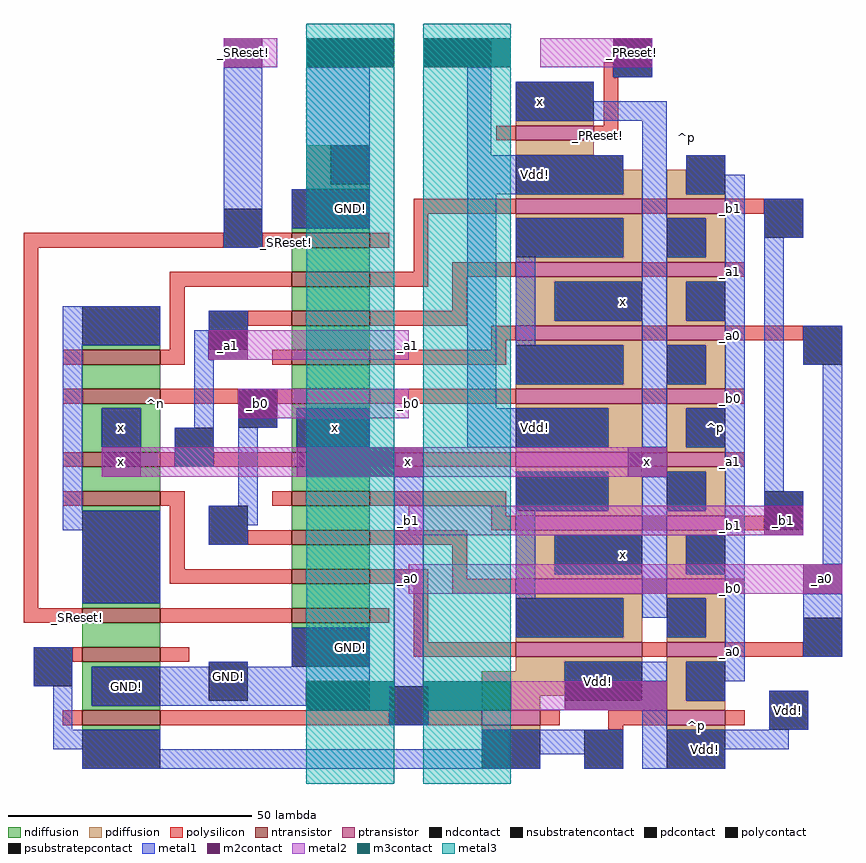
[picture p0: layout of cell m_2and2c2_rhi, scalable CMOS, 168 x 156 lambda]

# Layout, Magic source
magic
tech scmos
<< ndiffusion >>
rect -21 151 -16 159
rect -21 150 -8 151
rect -24 141 -8 142
rect -24 133 -8 138
rect -67 117 -51 118
rect -24 125 -8 130
rect -24 117 -8 122
rect -67 109 -51 114
rect -24 109 -8 114
rect -67 105 -51 106
rect -67 97 -63 105
rect -55 97 -51 105
rect -24 105 -8 106
rect -67 96 -51 97
rect -24 97 -23 105
rect -24 96 -8 97
rect -67 88 -51 93
rect -24 88 -8 93
rect -67 84 -51 85
rect -24 80 -8 85
rect -24 72 -8 77
rect -67 64 -51 65
rect -24 64 -8 69
rect -67 56 -51 61
rect -24 60 -8 61
rect -67 52 -51 53
rect -67 44 -65 52
rect -67 43 -51 44
rect -67 39 -51 40
<< pdiffusion >>
rect 22 163 38 164
rect 22 157 38 160
rect 44 149 48 154
rect 22 148 48 149
rect 53 149 57 154
rect 53 148 65 149
rect 22 144 48 145
rect 44 136 48 144
rect 22 135 48 136
rect 53 144 65 145
rect 61 136 65 144
rect 53 135 65 136
rect 22 131 48 132
rect 22 123 30 131
rect 22 122 48 123
rect 53 131 65 132
rect 53 123 57 131
rect 53 122 65 123
rect 22 118 48 119
rect 44 110 48 118
rect 22 109 48 110
rect 53 118 65 119
rect 61 110 65 118
rect 53 109 65 110
rect 22 105 48 106
rect 41 97 48 105
rect 22 96 48 97
rect 53 105 65 106
rect 53 97 57 105
rect 53 96 65 97
rect 22 92 48 93
rect 41 84 48 92
rect 22 83 48 84
rect 53 92 65 93
rect 61 84 65 92
rect 53 83 65 84
rect 22 79 48 80
rect 22 71 30 79
rect 22 70 48 71
rect 53 79 65 80
rect 53 71 57 79
rect 53 70 65 71
rect 22 66 48 67
rect 44 58 48 66
rect 22 57 48 58
rect 53 66 65 67
rect 61 58 65 66
rect 53 57 65 58
rect 22 53 48 54
rect 22 51 32 53
rect 15 46 32 51
rect 15 43 27 46
rect 53 53 65 54
rect 53 45 57 53
rect 53 43 65 45
rect 15 39 27 40
rect 53 39 65 40
<< ntransistor >>
rect -24 138 -8 141
rect -24 130 -8 133
rect -24 122 -8 125
rect -67 114 -51 117
rect -24 114 -8 117
rect -67 106 -51 109
rect -24 106 -8 109
rect -67 93 -51 96
rect -24 93 -8 96
rect -67 85 -51 88
rect -24 85 -8 88
rect -24 77 -8 80
rect -24 69 -8 72
rect -67 61 -51 64
rect -24 61 -8 64
rect -67 53 -51 56
rect -67 40 -51 43
<< ptransistor >>
rect 22 160 38 163
rect 22 145 48 148
rect 53 145 65 148
rect 22 132 48 135
rect 53 132 65 135
rect 22 119 48 122
rect 53 119 65 122
rect 22 106 48 109
rect 53 106 65 109
rect 22 93 48 96
rect 53 93 65 96
rect 22 80 48 83
rect 53 80 65 83
rect 22 67 48 70
rect 53 67 65 70
rect 22 54 48 57
rect 53 54 65 57
rect 15 40 27 43
rect 53 40 65 43
<< polysilicon >>
rect 40 173 42 176
rect 40 163 43 173
rect 18 160 22 163
rect 38 160 43 163
rect -79 138 -38 141
rect 1 145 22 148
rect 48 145 53 148
rect 65 145 73 148
rect -30 138 -24 141
rect -8 138 -4 141
rect -79 64 -76 138
rect 1 133 4 145
rect -49 130 -24 133
rect -8 130 4 133
rect 9 132 22 135
rect 48 132 53 135
rect 65 132 69 135
rect -49 117 -46 130
rect 9 125 12 132
rect -33 122 -24 125
rect -8 122 12 125
rect 17 119 22 122
rect 48 119 53 122
rect 65 119 81 122
rect 17 117 20 119
rect -71 114 -67 117
rect -51 114 -46 117
rect -28 114 -24 117
rect -8 114 20 117
rect -71 106 -67 109
rect -51 106 -35 109
rect -27 106 -24 109
rect -8 106 22 109
rect 48 106 53 109
rect 65 106 69 109
rect -71 93 -67 96
rect -51 93 -48 96
rect -40 93 -24 96
rect -8 93 22 96
rect 48 93 53 96
rect 65 93 69 96
rect -71 85 -67 88
rect -51 85 -46 88
rect -28 85 -24 88
rect -8 85 20 88
rect -49 72 -46 85
rect 17 83 20 85
rect 17 80 22 83
rect 48 80 53 83
rect 65 80 73 83
rect -33 77 -24 80
rect -8 77 12 80
rect -49 69 -24 72
rect -8 69 4 72
rect -79 61 -67 64
rect -51 61 -24 64
rect -8 61 -4 64
rect -69 53 -67 56
rect -51 53 -45 56
rect 1 57 4 69
rect 9 70 12 77
rect 9 67 22 70
rect 48 67 53 70
rect 65 67 69 70
rect 1 54 22 57
rect 48 54 53 57
rect 65 54 81 57
rect -71 40 -67 43
rect -51 40 -4 43
rect 4 40 15 43
rect 27 40 31 43
rect 41 40 53 43
rect 65 40 69 43
rect 41 39 44 40
<< ndcontact >>
rect -24 142 -8 150
rect -67 118 -51 126
rect -63 97 -55 105
rect -23 97 -8 105
rect -67 65 -51 84
rect -65 44 -51 52
rect -24 52 -8 60
rect -67 31 -51 39
<< pdcontact >>
rect 22 164 38 172
rect 22 149 44 157
rect 57 149 65 157
rect 22 136 44 144
rect 53 136 61 144
rect 30 123 48 131
rect 57 123 65 131
rect 22 110 44 118
rect 53 110 61 118
rect 22 97 41 105
rect 57 97 65 105
rect 22 84 41 92
rect 53 84 61 92
rect 30 71 48 79
rect 57 71 65 79
rect 22 58 44 66
rect 53 58 61 66
rect 32 45 48 53
rect 57 45 65 53
rect 15 31 27 39
rect 53 31 65 39
<< psubstratepcontact >>
rect -16 151 -8 159
rect -41 45 -33 53
<< nsubstratencontact >>
rect 74 39 82 47
<< polycontact >>
rect 42 173 50 181
rect -38 138 -30 146
rect 73 140 81 148
rect -41 117 -33 125
rect 81 114 89 122
rect -35 101 -27 109
rect -48 93 -40 101
rect -41 77 -33 85
rect 73 80 81 88
rect -77 48 -69 56
rect 81 54 89 62
rect -4 40 4 48
rect 36 31 44 39
<< metal1 >>
rect -38 138 -30 175
rect -21 150 -8 175
rect -24 142 -8 150
rect 12 157 17 175
rect 42 173 50 175
rect 22 168 38 172
rect 22 164 53 168
rect 12 149 44 157
rect -71 118 -51 126
rect -41 121 -33 125
rect -71 84 -67 118
rect -44 115 -41 121
rect -63 97 -55 105
rect -44 101 -40 115
rect -48 93 -40 101
rect 12 105 18 149
rect 48 144 53 164
rect 57 153 65 157
rect 57 149 69 153
rect 22 136 44 144
rect 48 136 61 144
rect 22 118 26 136
rect 48 131 53 136
rect 65 131 69 149
rect 30 123 53 131
rect 57 123 69 131
rect 48 118 53 123
rect 22 110 44 118
rect 48 110 61 118
rect -35 101 -27 103
rect -35 85 -31 101
rect -23 97 -8 105
rect 12 97 41 105
rect 48 97 53 110
rect 65 105 69 123
rect 57 97 69 105
rect -71 80 -51 84
rect -67 65 -51 80
rect -41 81 -31 85
rect -41 77 -33 81
rect -77 48 -69 56
rect -41 52 -33 53
rect -24 52 -8 60
rect -73 39 -69 48
rect -65 49 -8 52
rect -65 44 -21 49
rect -3 48 3 91
rect 22 84 41 92
rect 53 91 61 92
rect 48 84 61 91
rect 22 66 26 84
rect 48 79 53 84
rect 65 79 69 97
rect 73 140 81 148
rect 73 88 77 140
rect 81 114 89 122
rect 73 85 81 88
rect 30 71 53 79
rect 57 71 69 79
rect 85 73 89 114
rect 48 66 53 71
rect 22 58 44 66
rect 48 62 61 66
rect 53 58 61 62
rect 65 53 69 71
rect 81 54 89 67
rect 32 49 53 53
rect -4 40 4 48
rect 57 49 69 53
rect 57 45 65 49
rect 48 39 53 43
rect 74 39 82 47
rect -73 35 -51 39
rect 15 35 44 39
rect -67 34 44 35
rect -67 31 27 34
rect 36 31 44 34
rect 48 35 78 39
rect 48 31 65 35
<< m2contact >>
rect -38 175 -30 181
rect -21 175 -3 181
rect 3 175 17 181
rect 42 175 50 181
rect -41 115 -33 121
rect -63 91 -55 97
rect -35 103 -27 109
rect -23 91 3 97
rect -21 43 -8 49
rect 45 91 53 97
rect 73 79 81 85
rect 81 67 89 73
rect 32 43 53 49
<< metal2 >>
rect -38 175 -27 181
rect 27 175 50 181
rect -41 115 0 121
rect -35 103 0 109
rect -63 91 53 97
rect 0 79 81 85
rect 0 67 89 73
rect 21 43 53 49
<< m3contact >>
rect -21 175 -3 181
rect 3 175 21 181
rect -21 43 -3 49
rect 3 43 21 49
<< metal3 >>
rect -21 28 -3 184
rect 3 28 21 184
<< labels >>
rlabel metal1 26 153 26 153 5 Vdd!
rlabel metal1 26 101 26 101 1 Vdd!
rlabel metal1 -12 146 -12 146 5 GND!
rlabel metal1 -12 56 -12 56 1 GND!
rlabel metal1 44 127 44 127 1 x
rlabel pdcontact 44 75 44 75 5 x
rlabel metal1 61 35 61 35 1 Vdd!
rlabel polysilicon 66 55 66 55 1 _a0
rlabel polysilicon 66 68 66 68 1 _b0
rlabel polysilicon 66 81 66 81 1 _b1
rlabel polysilicon 66 94 66 94 1 _a1
rlabel polysilicon 66 107 66 107 1 _b0
rlabel polysilicon 66 120 66 120 1 _a0
rlabel polysilicon 66 133 66 133 1 _a1
rlabel polysilicon 66 146 66 146 1 _b1
rlabel metal1 39 49 39 49 1 Vdd!
rlabel metal1 27 168 27 168 5 x
rlabel polysilicon 39 161 39 161 1 _PReset!
rlabel polysilicon -25 139 -25 139 1 _SReset!
rlabel polysilicon -68 62 -68 62 1 _SReset!
rlabel metal1 -59 101 -59 101 1 x
rlabel metal1 -15 101 -15 101 1 x
rlabel metal1 78 43 78 43 7 Vdd!
rlabel metal1 -37 50 -37 50 1 GND!
rlabel metal2 0 94 0 94 1 x
rlabel metal2 0 67 0 73 3 _a0
rlabel metal2 0 79 0 85 3 _b1
rlabel metal2 0 103 0 109 7 _b0
rlabel metal2 0 115 0 121 7 _a1
rlabel metal2 46 178 46 178 1 _PReset!
rlabel metal1 -58 48 -58 48 1 GND!
rlabel metal2 -34 178 -34 178 1 _SReset!
rlabel space -80 30 -24 182 7 ^n
rlabel metal2 -27 175 -27 181 3 ^n
rlabel space 35 30 83 50 3 ^p
rlabel space 35 51 91 151 3 ^p
rlabel space 44 152 70 169 3 ^p
rlabel metal2 -37 118 -37 118 1 _a1
rlabel metal2 -31 106 -31 106 1 _b0
rlabel metal2 -59 94 -59 94 1 x
rlabel metal2 49 94 49 94 1 x
rlabel metal2 77 82 77 82 1 _b1
rlabel metal2 85 70 85 70 1 _a0
<< end >>
